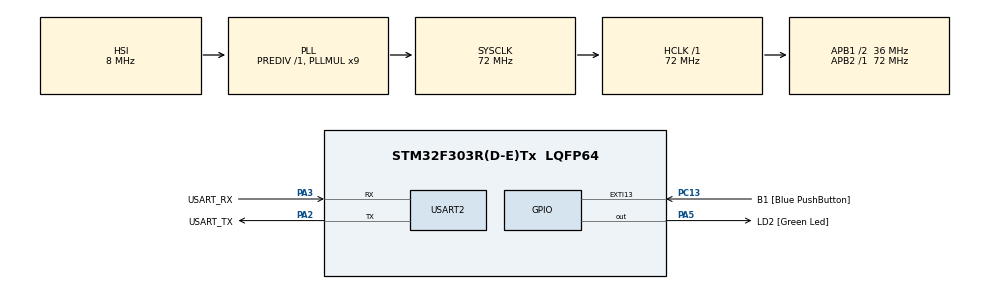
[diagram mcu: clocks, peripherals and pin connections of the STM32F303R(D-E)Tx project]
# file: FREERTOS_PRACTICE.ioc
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FREERTOS.BinarySemaphores01=ToggleLightSemaphore,Dynamic,NULL;HandleTimerSemaphore,Dynamic,NULL
FREERTOS.Queues01=BUTTON_QUE,16,uint8_t,0,Dynamic,NULL,NULL
FREERTOS.Tasks01=togglelight,24,128,ToggleLight,Default,NULL,Dynamic,NULL,NULL;handletimer,40,128,HandleTimer,Default,NULL,Dynamic,NULL,NULL
FREERTOS.Timers01=togglelighttimer,LightTimerCallback,osTimerOnce,Default,NULL,Dynamic,NULL
FREERTOS.configUSE_NEWLIB_REENTRANT=1
Mcu.Family=STM32F3
Mcu.Name=STM32F303R(D-E)Tx
Mcu.Package=LQFP64
NVIC.EXTI15_10_IRQn=true\:5\:0\:false\:false\:true\:true\:true\:true
NVIC.PriorityGroup=NVIC_PRIORITYGROUP_4
NVIC.TIM7_IRQn=true\:15\:0\:false\:false\:true\:false\:false\:true
NVIC.TimeBase=TIM7_IRQn
NVIC.TimeBaseIP=TIM7
PA13.GPIO_Label=TMS
PA13.Mode=Serial_Wire
PA13.Signal=SYS_JTMS-SWDIO
PA14.GPIO_Label=TCK
PA14.Mode=Serial_Wire
PA14.Signal=SYS_JTCK-SWCLK
PA2.GPIO_Label=USART_TX
PA2.GPIO_Mode=GPIO_MODE_AF_PP
PA2.GPIO_PuPd=GPIO_NOPULL
PA2.GPIO_Speed=GPIO_SPEED_FREQ_LOW
PA2.Mode=Asynchronous
PA2.Signal=USART2_TX
PA3.GPIO_Label=USART_RX
PA3.GPIO_Mode=GPIO_MODE_AF_PP
PA3.GPIO_PuPd=GPIO_NOPULL
PA3.GPIO_Speed=GPIO_SPEED_FREQ_LOW
PA3.Mode=Asynchronous
PA3.Signal=USART2_RX
PA5.GPIO_Label=LD2 [Green Led]
PA5.GPIO_Mode=GPIO_MODE_OUTPUT_PP
PA5.GPIO_PuPd=GPIO_NOPULL
PA5.GPIO_Speed=GPIO_SPEED_FREQ_LOW
PA5.Signal=GPIO_Output
PB3.GPIO_Label=SWO
PB3.Signal=SYS_JTDO-TRACESWO
PC13.GPIO_Label=B1 [Blue PushButton]
PC13.GPIO_ModeDefaultEXTI=GPIO_MODE_IT_FALLING
PC13.Signal=GPXTI13
PC14-OSC32_IN.Mode=LSE-External-Oscillator
PC14-OSC32_IN.Signal=RCC_OSC32_IN
PC15-OSC32_OUT.Mode=LSE-External-Oscillator
PC15-OSC32_OUT.Signal=RCC_OSC32_OUT
PF0-OSC_IN.Mode=HSE-External-Clock-Source
PF0-OSC_IN.Signal=RCC_OSC_IN
PF1-OSC_OUT.Signal=RCC_OSC_OUT
ProjectManager.HeapSize=0x200
ProjectManager.StackSize=0x400
ProjectManager.TargetToolchain=STM32CubeIDE
RCC.AHBFreq_Value=72000000
RCC.APB1CLKDivider=RCC_HCLK_DIV2
RCC.APB1Freq_Value=36000000
RCC.APB1TimFreq_Value=72000000
RCC.APB2Freq_Value=72000000
RCC.APB2TimFreq_Value=72000000
RCC.CortexFreq_Value=72000000
RCC.HCLKFreq_Value=72000000
RCC.HSE_VALUE=8000000
RCC.HSI_VALUE=8000000
RCC.PLLM=8
RCC.PLLMUL=RCC_PLL_MUL9
RCC.PLLN=336
RCC.PLLP=RCC_PLLP_DIV4
RCC.PLLQ=7
RCC.RCC_PLLsource_Clock_Source_FROM_HSE=RCC_HSE_PREDIV_DIV2
RCC.SYSCLKFreq_VALUE=72000000
RCC.SYSCLKSourceVirtual=RCC_SYSCLKSOURCE_PLLCLK
RCC.USBFreq_Value=72000000
USART2.VirtualMode-Asynchronous=VM_ASYNC
VP_FREERTOS_VS_CMSIS_V2.Mode=CMSIS_V2
VP_SYS_VS_tim7.Mode=TIM7
board=NUCLEO-F303RE

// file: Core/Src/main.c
/* USER CODE BEGIN Header */
/**
  ******************************************************************************
  * @file           : main.c
  * @brief          : Main program body
  ******************************************************************************
  * @attention
  *
  * <h2><center>&copy; Copyright (c) 2021 STMicroelectronics.
  * All rights reserved.</center></h2>
  *
  * This software component is licensed by ST under Ultimate Liberty license
  * SLA0044, the "License"; You may not use this file except in compliance with
  * the License. You may obtain a copy of the License at:
  *                             www.st.com/SLA0044
  *
  ******************************************************************************
  */
/* USER CODE END Header */
#include "main.h"
#include "cmsis_os.h"

UART_HandleTypeDef huart2;

/* Definitions for togglelight */
osThreadId_t togglelightHandle;
const osThreadAttr_t togglelight_attributes = {
  .name = "togglelight",
  .stack_size = 128 * 4,
  .priority = (osPriority_t) osPriorityNormal,
};
/* Definitions for handletimer */
osThreadId_t handletimerHandle;
const osThreadAttr_t handletimer_attributes = {
  .name = "handletimer",
  .stack_size = 128 * 4,
  .priority = (osPriority_t) osPriorityHigh,
};
/* Definitions for BUTTON_QUE */
osMessageQueueId_t BUTTON_QUEHandle;
const osMessageQueueAttr_t BUTTON_QUE_attributes = {
  .name = "BUTTON_QUE"
};
/* Definitions for togglelighttimer */
osTimerId_t togglelighttimerHandle;
const osTimerAttr_t togglelighttimer_attributes = {
  .name = "togglelighttimer"
};
/* Definitions for ToggleLightSemaphore */
osSemaphoreId_t ToggleLightSemaphoreHandle;
const osSemaphoreAttr_t ToggleLightSemaphore_attributes = {
  .name = "ToggleLightSemaphore"
};
/* Definitions for HandleTimerSemaphore */
osSemaphoreId_t HandleTimerSemaphoreHandle;
const osSemaphoreAttr_t HandleTimerSemaphore_attributes = {
  .name = "HandleTimerSemaphore"
};
/* USER CODE BEGIN PV */
static uint8_t count;
/* USER CODE END PV */

void SystemClock_Config(void);
static void MX_GPIO_Init(void);
static void MX_USART2_UART_Init(void);
void ToggleLight(void *argument);
void HandleTimer(void *argument);
void LightTimerCallback(void *argument);

/* USER CODE BEGIN PFP */

void InitTimer(uint8_t);

/* USER CODE END PFP */

int main(void)
{
  /* USER CODE BEGIN 1 */
	count = 0;
  /* USER CODE END 1 */

  /* MCU Configuration--------------------------------------------------------*/

  /* Reset of all peripherals, Initializes the Flash interface and the Systick. */
  HAL_Init();

  /* Configure the system clock */
  SystemClock_Config();

  /* USER CODE BEGIN SysInit */
  //InitSystem();
  /* USER CODE END SysInit */

  /* Initialize all configured peripherals */
  MX_GPIO_Init();
  MX_USART2_UART_Init();

  /* Init scheduler */
  osKernelInitialize();

  /* Create the semaphores(s) */
  /* creation of ToggleLightSemaphore */
  ToggleLightSemaphoreHandle = osSemaphoreNew(1, 1, &ToggleLightSemaphore_attributes);

  /* creation of HandleTimerSemaphore */
  HandleTimerSemaphoreHandle = osSemaphoreNew(1, 1, &HandleTimerSemaphore_attributes);

  /* USER CODE BEGIN RTOS_SEMAPHORES */
  osSemaphoreAcquire(HandleTimerSemaphoreHandle, osWaitForever);
  osSemaphoreAcquire(ToggleLightSemaphoreHandle, osWaitForever);
  /* add semaphores, ... */
  /* USER CODE END RTOS_SEMAPHORES */

  /* Create the timer(s) */
  /* creation of togglelighttimer */
  togglelighttimerHandle = osTimerNew(LightTimerCallback, osTimerOnce, NULL, &togglelighttimer_attributes);

  /* Create the queue(s) */
  /* creation of BUTTON_QUE */
  BUTTON_QUEHandle = osMessageQueueNew (16, sizeof(uint8_t), &BUTTON_QUE_attributes);

  /* Create the thread(s) */
  /* creation of togglelight */
  togglelightHandle = osThreadNew(ToggleLight, NULL, &togglelight_attributes);

  /* creation of handletimer */
  handletimerHandle = osThreadNew(HandleTimer, NULL, &handletimer_attributes);

  /* Start scheduler */
  osKernelStart();

  /* We should never get here as control is now taken by the scheduler */
  /* Infinite loop */
  while (1)
  {

  }
}

void SystemClock_Config(void)
{
  RCC_OscInitTypeDef RCC_OscInitStruct = {0};
  RCC_ClkInitTypeDef RCC_ClkInitStruct = {0};
  RCC_PeriphCLKInitTypeDef PeriphClkInit = {0};

  /** Initializes the RCC Oscillators according to the specified parameters
  * in the RCC_OscInitTypeDef structure.
  */
  RCC_OscInitStruct.OscillatorType = RCC_OSCILLATORTYPE_HSI;
  RCC_OscInitStruct.HSIState = RCC_HSI_ON;
  RCC_OscInitStruct.HSICalibrationValue = RCC_HSICALIBRATION_DEFAULT;
  RCC_OscInitStruct.PLL.PLLState = RCC_PLL_ON;
  RCC_OscInitStruct.PLL.PLLSource = RCC_PLLSOURCE_HSI;
  RCC_OscInitStruct.PLL.PLLMUL = RCC_PLL_MUL9;
  RCC_OscInitStruct.PLL.PREDIV = RCC_PREDIV_DIV1;
  if (HAL_RCC_OscConfig(&RCC_OscInitStruct) != HAL_OK)
  {
    Error_Handler();
  }
  /** Initializes the CPU, AHB and APB buses clocks
  */
  RCC_ClkInitStruct.ClockType = RCC_CLOCKTYPE_HCLK|RCC_CLOCKTYPE_SYSCLK
                              |RCC_CLOCKTYPE_PCLK1|RCC_CLOCKTYPE_PCLK2;
  RCC_ClkInitStruct.SYSCLKSource = RCC_SYSCLKSOURCE_PLLCLK;
  RCC_ClkInitStruct.AHBCLKDivider = RCC_SYSCLK_DIV1;
  RCC_ClkInitStruct.APB1CLKDivider = RCC_HCLK_DIV2;
  RCC_ClkInitStruct.APB2CLKDivider = RCC_HCLK_DIV1;

  if (HAL_RCC_ClockConfig(&RCC_ClkInitStruct, FLASH_LATENCY_2) != HAL_OK)
  {
    Error_Handler();
  }
  PeriphClkInit.PeriphClockSelection = RCC_PERIPHCLK_USART2;
  PeriphClkInit.Usart2ClockSelection = RCC_USART2CLKSOURCE_PCLK1;
  if (HAL_RCCEx_PeriphCLKConfig(&PeriphClkInit) != HAL_OK)
  {
    Error_Handler();
  }
}

static void MX_USART2_UART_Init(void)
{

  huart2.Instance = USART2;
  huart2.Init.BaudRate = 38400;
  huart2.Init.WordLength = UART_WORDLENGTH_8B;
  huart2.Init.StopBits = UART_STOPBITS_1;
  huart2.Init.Parity = UART_PARITY_NONE;
  huart2.Init.Mode = UART_MODE_TX_RX;
  huart2.Init.HwFlowCtl = UART_HWCONTROL_NONE;
  huart2.Init.OverSampling = UART_OVERSAMPLING_16;
  huart2.Init.OneBitSampling = UART_ONE_BIT_SAMPLE_DISABLE;
  huart2.AdvancedInit.AdvFeatureInit = UART_ADVFEATURE_NO_INIT;
  if (HAL_UART_Init(&huart2) != HAL_OK)
  {
    Error_Handler();
  }

}

static void MX_GPIO_Init(void)
{
  GPIO_InitTypeDef GPIO_InitStruct = {0};

  /* GPIO Ports Clock Enable */
  __HAL_RCC_GPIOC_CLK_ENABLE();
  __HAL_RCC_GPIOF_CLK_ENABLE();
  __HAL_RCC_GPIOA_CLK_ENABLE();
  __HAL_RCC_GPIOB_CLK_ENABLE();

  /*Configure GPIO pin Output Level */
  HAL_GPIO_WritePin(LD2_GPIO_Port, LD2_Pin, GPIO_PIN_RESET);

  /*Configure GPIO pin : B1_Pin */
  GPIO_InitStruct.Pin = B1_Pin;
  GPIO_InitStruct.Mode = GPIO_MODE_IT_FALLING;
  GPIO_InitStruct.Pull = GPIO_NOPULL;
  HAL_GPIO_Init(B1_GPIO_Port, &GPIO_InitStruct);

  /*Configure GPIO pin : LD2_Pin */
  GPIO_InitStruct.Pin = LD2_Pin;
  GPIO_InitStruct.Mode = GPIO_MODE_OUTPUT_PP;
  GPIO_InitStruct.Pull = GPIO_NOPULL;
  GPIO_InitStruct.Speed = GPIO_SPEED_FREQ_LOW;
  HAL_GPIO_Init(LD2_GPIO_Port, &GPIO_InitStruct);

  /* EXTI interrupt init*/
  HAL_NVIC_SetPriority(EXTI15_10_IRQn, 5, 0);
  HAL_NVIC_EnableIRQ(EXTI15_10_IRQn);

}

/* USER CODE BEGIN 4 */

void InitTimer(uint8_t time)
{
  uint32_t timerDelay;

  timerDelay = time * osKernelGetTickFreq();

  osTimerStart(togglelighttimerHandle, timerDelay);
}

void HAL_GPIO_EXTI_Callback(uint16_t GPIO_Pin)
{
    if(GPIO_Pin == GPIO_PIN_13) // If The INT Source Is EXTI Line13 (A13 Pin)
    {
      count += 1;
      osSemaphoreRelease(HandleTimerSemaphoreHandle);
    }
}

/* USER CODE END 4 */

void ToggleLight(void *argument)
{
  /* USER CODE BEGIN 5 */
	uint32_t delay = osKernelGetTickFreq()/ 3;
  /* Infinite loop */
  for(;;)
  {
	osSemaphoreAcquire(ToggleLightSemaphoreHandle, osWaitForever);

	for (; count > 0; count--)
	{
	  HAL_GPIO_TogglePin(GPIOA, GPIO_PIN_5);
	  osDelay(delay);
	  HAL_GPIO_TogglePin(GPIOA, GPIO_PIN_5);
	  osDelay(delay);
	}
  }
  /* USER CODE END 5 */
}

void HandleTimer(void *argument)
{
  /* USER CODE BEGIN HandleTimer */
  /* Infinite loop */
  for(;;)
  {
	osSemaphoreAcquire(HandleTimerSemaphoreHandle, osWaitForever);

	if (!osTimerIsRunning(togglelighttimerHandle))
	{
	  InitTimer(2);
	}
  }
  /* USER CODE END HandleTimer */
}

/* LightTimerCallback function */
void LightTimerCallback(void *argument)
{
  /* USER CODE BEGIN LightTimerCallback */

	osSemaphoreRelease(ToggleLightSemaphoreHandle);

  /* USER CODE END LightTimerCallback */
}

void HAL_TIM_PeriodElapsedCallback(TIM_HandleTypeDef *htim)
{
  if (htim->Instance == TIM7) {
    HAL_IncTick();
  }
}

void Error_Handler(void)
{
  __disable_irq();
  while (1)
  {
  }
}

/************************ (C) COPYRIGHT STMicroelectronics *****END OF FILE****/
